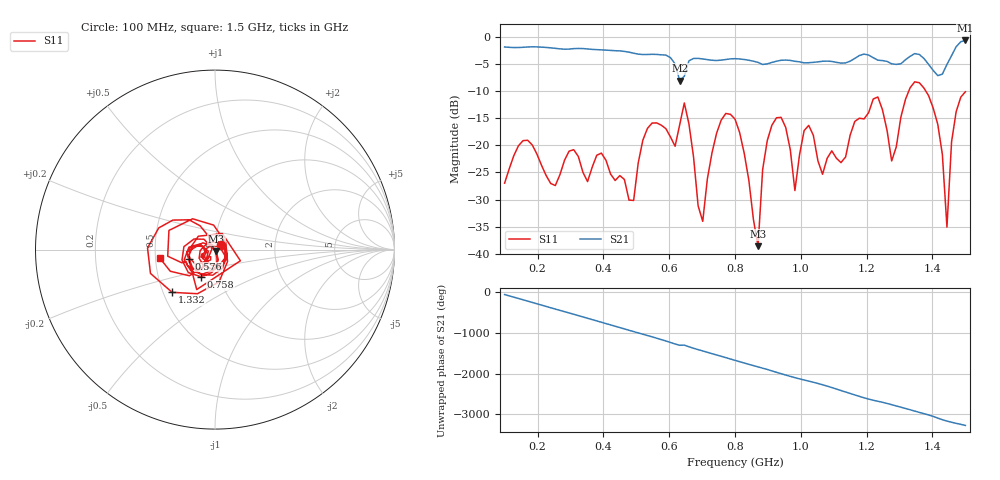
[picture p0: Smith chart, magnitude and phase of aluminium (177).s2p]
! NanoVNA-App
! Date: 2025-09-25 14:56:39
! Start: 100MHz Stop: 1,5GHz Points: 101
! S-Parameter data: F S11 S21 S12 S22
# Hz S RI R 50
!  Frequency  S11_Real  S11_Imag  S21_Real  S21_Imag  S12_Real  S12_Imag  S22_Real  S22_Imag
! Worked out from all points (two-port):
!   101 points, 100 MHz to 1.5 GHz, reference 50 ohm
!   highest |S21| = -0.72 dB at 1.5 GHz (marker M1); lowest = -8.1 dB at 632 MHz (marker M2)
!   |S21| within 3 dB of the highest: start of sweep to 599.3 MHz; 1.456 GHz to end of sweep (the widest 2 of 4)
!   lowest |S11| = -38.6 dB at 870 MHz (marker M3), VSWR 1.02, Z = 50.6 - j1 ohm
!   |S11| at or under -10 dB: start of sweep to 1.328 GHz; 1.379 GHz to end of sweep
!   S12 and S22 are empty: the file has one direction only
!   S11 on the Smith chart (normalised r, x): 100 MHz: 1.07, +0.06; 576 MHz: 0.74, -0.08; 758 MHz: 0.82, -0.26; 1.332 GHz: 0.56, -0.30; 1.5 GHz: 0.53, -0.06
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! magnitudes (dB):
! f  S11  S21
! 100 MHz  -27.0  -1.9
! 156 MHz  -19.1  -2.0
! 338 MHz  -25.0  -2.2
! 492 MHz  -30.2  -3.1
! 576 MHz  -16.3  -3.4
! 632 MHz  -16.2  -8.1
! 646 MHz  -12.2  -7.3
! 702 MHz  -34.0  -4.1
! 758 MHz  -15.4  -4.3
! 800 MHz  -15.2  -4.1
! 870 MHz  -38.6  -4.8
! 912 MHz  -16.3  -4.8
! 982 MHz  -28.3  -4.6
! 1.038 GHz  -18.2  -4.8
! 1.066 GHz  -25.3  -4.5
! 1.234 GHz  -11.1  -4.3
! 1.276 GHz  -22.9  -5.0
! 1.332 GHz  -9.4  -3.6
! 1.416 GHz  -16.1  -7.2
! 1.444 GHz  -35.1  -5.1
! 1.458 GHz  -19.4  -3.5
! 1.5 GHz  -10.2  -0.7
